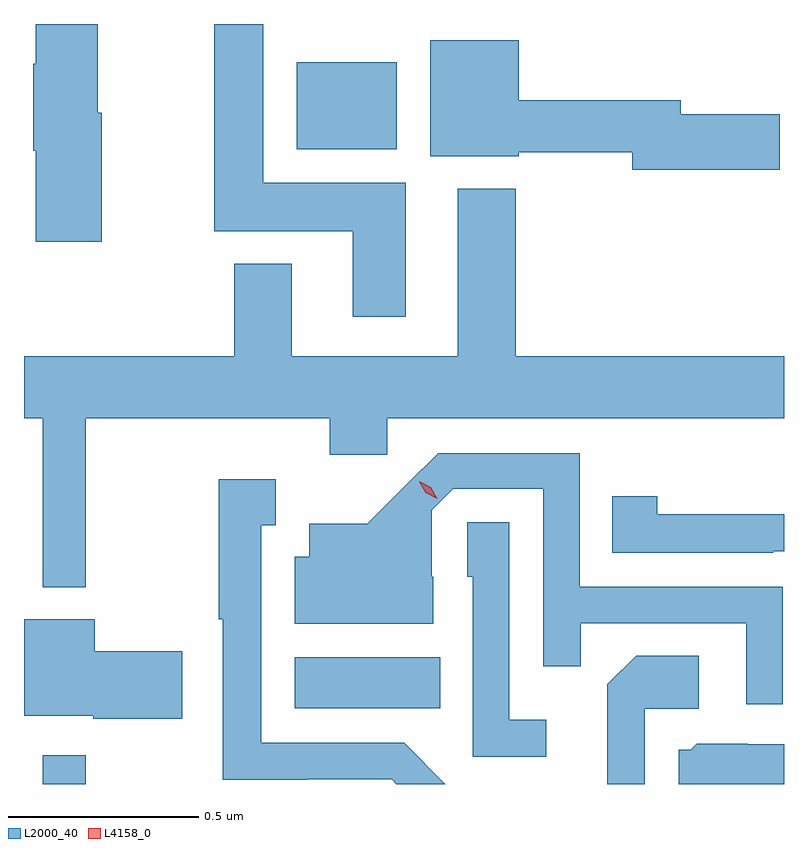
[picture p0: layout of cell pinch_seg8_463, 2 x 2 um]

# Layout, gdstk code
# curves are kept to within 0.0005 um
import gdstk
lib = gdstk.Library(unit=1e-6, precision=1e-09)
def R(c, l, rs):  # rectangles x0, y0, x1, y1
    for r in rs: c.add(gdstk.rectangle(r[:2], r[2:], *l))
def P(c, l, *ps):  # polygons
    for p in ps: c.add(gdstk.Polygon(p, *l))
L2000_40 = (2000, 40)
L4158_0 = (4158, 0)

pinch_seg8_463 = lib.new_cell('pinch_seg8_463')
R(pinch_seg8_463, L2000_40, [(197.981,1139.514,198.095,1139.59), (198.644,1139.714,199.028,1139.848), (198.65,1141.184,198.913,1141.414)])
P(pinch_seg8_463, L2000_40, [(198.937,1141.096),(198.562,1141.096),(198.562,1141.514),(198.433,1141.514),(198.433,1140.968),(198.797,1140.968),(198.797,1140.744),(198.937,1140.744)],
  [(198.136,1141.281),(198.126,1141.281),(198.126,1141.514),(197.963,1141.514),(197.963,1141.409),(197.956,1141.409),(197.956,1141.181),(197.963,1141.181),(197.963,1140.941),(198.136,1140.941)],
  [(199.921,1141.277),(199.66,1141.277),(199.66,1141.313),(199.234,1141.313),(199.234,1141.471),(199.001,1141.471),(199.001,1141.166),(199.234,1141.166),(199.234,1141.177),(199.532,1141.177),(199.532,1141.13),(199.921,1141.13)],
  [(198.095,1140.476),(198.737,1140.476),(198.737,1140.381),(198.888,1140.381),(198.888,1140.476),(199.932,1140.476),(199.932,1140.64),(199.226,1140.64),(199.226,1141.081),(199.073,1141.081),(199.073,1140.64),(198.637,1140.64),(198.637,1140.883),(198.485,1140.883),(198.485,1140.64),(197.932,1140.64),(197.932,1140.476),(197.981,1140.476),(197.981,1140.032),(198.095,1140.032)],
  [(199.929,1140.033),(199.395,1140.033),(199.395,1140.384),(199.022,1140.384),(198.835,1140.199),(198.683,1140.199),(198.683,1140.112),(198.644,1140.112),(198.644,1139.936),(199.009,1139.936),(199.009,1140.06),(199.005,1140.06),(199.005,1140.234),(199.062,1140.291),(199.299,1140.291),(199.299,1139.824),(199.397,1139.824),(199.397,1139.937),(199.833,1139.937),(199.833,1139.724),(199.929,1139.724)],
  [(198.933,1139.622),(198.556,1139.622),(198.556,1140.195),(198.595,1140.195),(198.595,1140.316),(198.445,1140.316),(198.445,1139.947),(198.455,1139.947),(198.455,1139.525),(198.678,1139.525),(198.678,1139.526),(198.9,1139.526),(198.912,1139.514),(199.041,1139.514)],
  [(199.904,1140.126),(199.932,1140.126),(199.932,1140.224),(199.599,1140.224),(199.599,1140.271),(199.48,1140.271),(199.48,1140.123),(199.904,1140.123)],
  [(199.306,1139.683),(199.209,1139.683),(199.209,1140.203),(199.098,1140.203),(199.098,1140.06),(199.113,1140.06),(199.113,1139.586),(199.306,1139.586)],
  [(198.349,1139.864),(198.118,1139.864),(198.118,1139.947),(197.932,1139.947),(197.932,1139.693),(198.114,1139.693),(198.114,1139.686),(198.349,1139.686)],
  [(199.566,1139.712),(199.708,1139.712),(199.708,1139.852),(199.543,1139.852),(199.467,1139.776),(199.467,1139.514),(199.566,1139.514)],
  [(199.932,1139.619),(199.836,1139.619),(199.836,1139.62),(199.702,1139.62),(199.686,1139.604),(199.655,1139.604),(199.655,1139.514),(199.932,1139.514)])
P(pinch_seg8_463, L4158_0, [(199.02,1140.265),(198.989,1140.28),(198.972,1140.31),(198.972,1140.311),(198.972,1140.311),(199.003,1140.295),(199.02,1140.265),(199.02,1140.265)])

lib.write_gds('pinch_seg8_463.gds')
